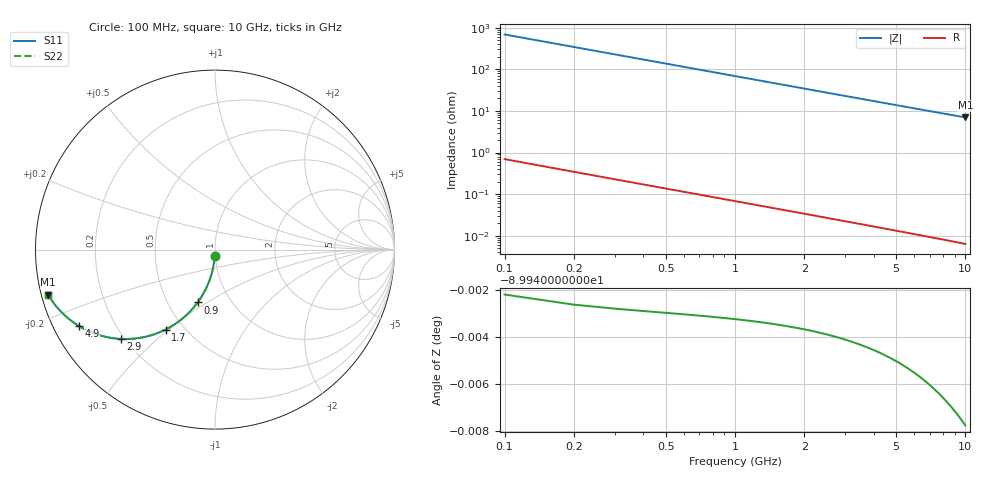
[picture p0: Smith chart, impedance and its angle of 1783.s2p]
# Hz S RI R 50.00
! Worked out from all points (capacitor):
!   100 points, 100 MHz to 10 GHz, reference 50 ohm
!   read as one part in shunt: C = 2.31 pF near 100 MHz
!   lowest |Z| = 7 ohm at 10 GHz (marker M1)
!   S11 on the Smith chart (normalised r, x): 100 MHz: 0.99, -0.07; 900 MHz: 0.70, -0.46; 1.7 GHz: 0.40, -0.49; 2.9 GHz: 0.19, -0.39; 4.9 GHz: 0.07, -0.26; 10 GHz: 0.02, -0.13
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1e8  -0.00133 -0.0362  0.9986 -0.0363  0.9986 -0.0363  -0.00133 -0.0362
2e8  -0.00529 -0.0721  0.9947 -0.0723  0.9947 -0.0723  -0.00529 -0.0721
3e8  -0.0118 -0.1075  0.9882 -0.1077  0.9882 -0.1077  -0.0118 -0.1075
4e8  -0.0208 -0.142  0.9792 -0.1423  0.9792 -0.1423  -0.0208 -0.142
5e8  -0.032 -0.1754  0.9679 -0.1758  0.9679 -0.1758  -0.032 -0.1754
6e8  -0.0454 -0.2076  0.9545 -0.2081  0.9545 -0.2081  -0.0454 -0.2076
7e8  -0.0608 -0.2382  0.9391 -0.2388  0.9391 -0.2388  -0.0608 -0.2382
9e8  -0.0966 -0.2946  0.9033 -0.2953  0.9033 -0.2953  -0.0966 -0.2946
1.1e9  -0.1377 -0.3436  0.8623 -0.3445  0.8623 -0.3445  -0.1377 -0.3436
1.3e9  -0.1822 -0.385  0.8177 -0.3861  0.8177 -0.3861  -0.1822 -0.385
1.7e9  -0.2758 -0.4457  0.7242 -0.4471  0.7242 -0.4471  -0.2758 -0.4457
1.8e9  -0.2991 -0.4566  0.7008 -0.4581  0.7008 -0.4581  -0.2991 -0.4566
2.3e9  -0.4105 -0.4905  0.5895 -0.4924  0.5895 -0.4924  -0.4105 -0.4905
2.9e9  -0.5252 -0.4977  0.4748 -0.5001  0.4748 -0.5001  -0.5252 -0.4977
3.4e9  -0.6031 -0.4873  0.3969 -0.4902  0.3969 -0.4902  -0.6031 -0.4873
4.1e9  -0.6882 -0.461  0.3117 -0.4644  0.3117 -0.4644  -0.6882 -0.461
4.9e9  -0.759 -0.4251  0.2409 -0.4292  0.2409 -0.4292  -0.759 -0.4251
5.1e9  -0.7733 -0.416  0.2266 -0.4203  0.2266 -0.4203  -0.7733 -0.416
5.9e9  -0.8202 -0.381  0.1797 -0.3859  0.1797 -0.3859  -0.8202 -0.381
6.7e9  -0.8547 -0.3491  0.1453 -0.3547  0.1453 -0.3547  -0.8547 -0.3491
8.4e9  -0.9023 -0.2928  0.0976 -0.2999  0.0976 -0.2999  -0.9023 -0.2928
1e10  -0.929 -0.252  0.0709 -0.2605  0.0709 -0.2605  -0.929 -0.252
